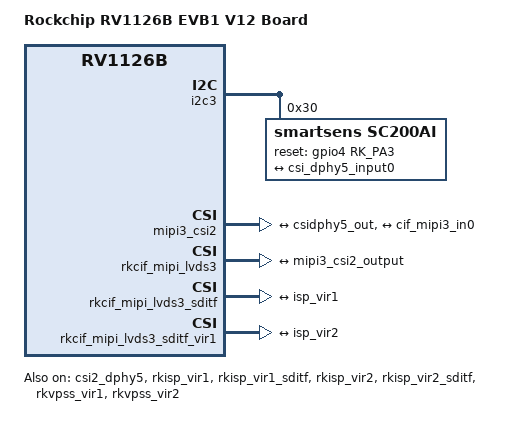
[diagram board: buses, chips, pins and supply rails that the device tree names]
// SPDX-License-Identifier: (GPL-2.0+ OR MIT)
/*
 * Copyright (c) 2026 Rockchip Electronics Co., Ltd.
 */

#include "rv1126b-evb1-v12-uvc.dts"

/ {
	model = "Rockchip RV1126B EVB1 V12 Board";
	compatible = "rockchip,rv1126b-evb1-v12-uvc-winhello", "rockchip,rv1126b";
};

&i2c3 {
	sc200ai: sc200ai@30 {
		compatible = "smartsens,sc200ai";
		status = "okay";
		reg = <0x30>;
		clocks = <&cru CLK_MIPI3_OUT2IO>;
		clock-names = "xvclk";
		reset-gpios = <&gpio4 RK_PA3 GPIO_ACTIVE_HIGH>;
		pinctrl-names = "default";
		pinctrl-0 = <&cam_clk3_pins>;
		rockchip,camera-module-index = <1>;
		rockchip,camera-module-facing = "back";
		rockchip,camera-module-name = "default";
		rockchip,camera-module-lens-name = "default";

		port {
			sc200ai_out: endpoint {
				remote-endpoint = <&csi_dphy5_input0>;
				data-lanes = <1 2>;
			};
		};
	};
};

&csi2_dphy5 {
	status = "okay";

	ports {
		#address-cells = <1>;
		#size-cells = <0>;
		port@0 {
			reg = <0>;
			#address-cells = <1>;
			#size-cells = <0>;

			csi_dphy5_input0: endpoint@1 {
				reg = <1>;
				remote-endpoint = <&sc200ai_out>;
				data-lanes = <1 2>;
			};

		};
		port@1 {
			reg = <1>;
			#address-cells = <1>;
			#size-cells = <0>;

			csidphy5_out: endpoint@0 {
				reg = <0>;
				remote-endpoint = <&mipi3_csi2_input>;
			};
		};
	};
};

&mipi3_csi2 {
	status = "okay";

	ports {
		#address-cells = <1>;
		#size-cells = <0>;

		port@0 {
			reg = <0>;
			#address-cells = <1>;
			#size-cells = <0>;

			mipi3_csi2_input: endpoint@1 {
				reg = <1>;
				remote-endpoint = <&csidphy5_out>;
			};
		};

		port@1 {
			reg = <1>;
			#address-cells = <1>;
			#size-cells = <0>;

			mipi3_csi2_output: endpoint@0 {
				reg = <0>;
				remote-endpoint = <&cif_mipi3_in0>;
			};
		};
	};
};

&rkcif_mipi_lvds3 {
	status = "okay";

	port {
		cif_mipi3_in0: endpoint {
			remote-endpoint = <&mipi3_csi2_output>;
		};
	};
};

&rkcif_mipi_lvds3_sditf {
	status = "okay";

	port {
		mipi_lvds3_sditf: endpoint {
			remote-endpoint = <&isp_vir1>;
		};
	};
};

&rkcif_mipi_lvds3_sditf_vir1 {
	status = "okay";

	port {
		mipi_lvds3_sditf_vir1: endpoint {
			remote-endpoint = <&isp_vir2>;
		};
	};
};

&rkisp_vir1 {
	status = "okay";

	port {
		#address-cells = <1>;
		#size-cells = <0>;

		isp_vir1: endpoint@0 {
			reg = <0>;
			remote-endpoint = <&mipi_lvds3_sditf>;
		};
	};
};

&rkisp_vir1_sditf {
	status = "okay";
};

&rkisp_vir2 {
	status = "okay";

	port {
		#address-cells = <1>;
		#size-cells = <0>;

		isp_vir2: endpoint@0 {
			reg = <0>;
			remote-endpoint = <&mipi_lvds3_sditf_vir1>;
		};
	};
};

&rkisp_vir2_sditf {
	status = "okay";
};

&rkvpss_vir1 {
	status = "okay";
};

&rkvpss_vir2 {
	status = "okay";
};
